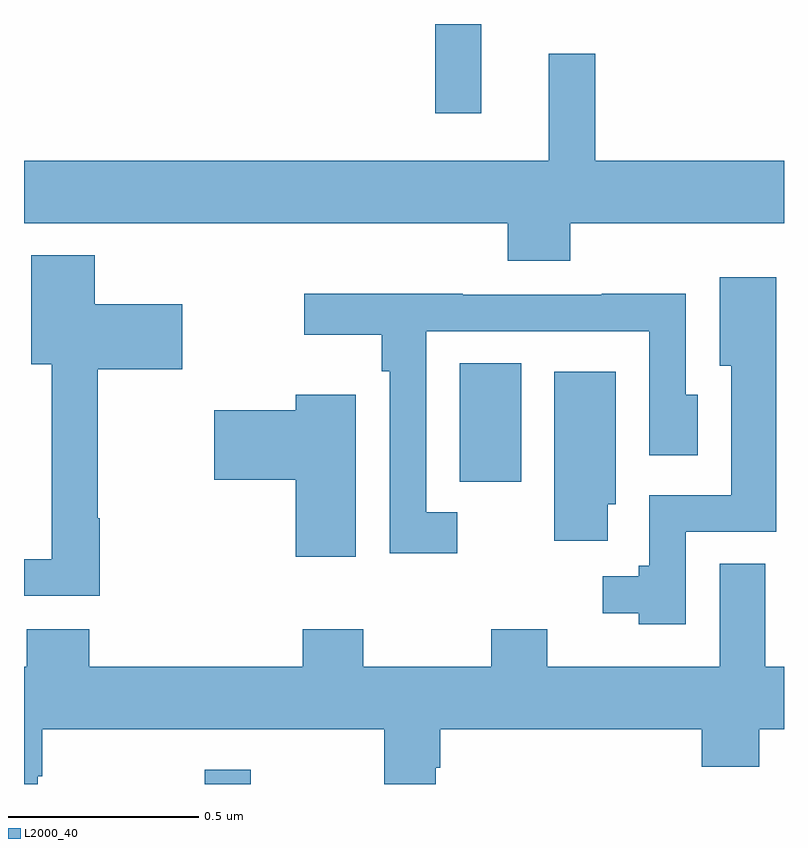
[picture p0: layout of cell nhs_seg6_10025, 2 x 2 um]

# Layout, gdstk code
import gdstk
lib = gdstk.Library(unit=1e-6, precision=1e-09)
def R(c, l, rs):  # rectangles x0, y0, x1, y1
    for r in rs: c.add(gdstk.rectangle(r[:2], r[2:], *l))
def P(c, l, *ps):  # polygons
    for p in ps: c.add(gdstk.Polygon(p, *l))
L2000_40 = (2000, 40)

nhs_seg6_10025 = lib.new_cell('nhs_seg6_10025')
R(nhs_seg6_10025, L2000_40, [(241.476,972.5,241.597,972.538), (242.147,973.296,242.308,973.607), (242.082,974.265,242.203,974.5)])
P(nhs_seg6_10025, L2000_40, [(242.438,973.976),(243,973.976),(243,974.14),(242.503,974.14),(242.503,974.422),(242.381,974.422),(242.381,974.14),(241,974.14),(241,973.976),(242.273,973.976),(242.273,973.877),(242.438,973.877)],
  [(241.199,973.199),(241.194,973.199),(241.194,973.592),(241.417,973.592),(241.417,973.762),(241.186,973.762),(241.186,973.891),(241.019,973.891),(241.019,973.604),(241.073,973.604),(241.073,973.092),(241,973.092),(241,972.995),(241.199,972.995)],
  [(242.742,973.164),(242.98,973.164),(242.98,973.834),(242.831,973.834),(242.831,973.601),(242.861,973.601),(242.861,973.26),(242.646,973.26),(242.646,973.074),(242.618,973.074),(242.618,973.047),(242.523,973.047),(242.523,972.95),(242.618,972.95),(242.618,972.92),(242.742,972.92)],
  [(242.14,973.215),(242.058,973.215),(242.058,973.692),(242.646,973.692),(242.646,973.365),(242.773,973.365),(242.773,973.524),(242.742,973.524),(242.742,973.79),(242.521,973.79),(242.521,973.788),(242.155,973.788),(242.155,973.79),(241.737,973.79),(241.737,973.682),(241.942,973.682),(241.942,973.586),(241.962,973.586),(241.962,973.107),(242.14,973.107)],
  [(242.536,973.236),(242.557,973.236),(242.557,973.585),(242.396,973.585),(242.396,973.14),(242.536,973.14)],
  [(241.873,973.525),(241.715,973.525),(241.715,973.484),(241.5,973.484),(241.5,973.301),(241.715,973.301),(241.715,973.098),(241.873,973.098)],
  [(241.036,972.521),(241.048,972.521),(241.048,972.644),(241.948,972.644),(241.948,972.5),(242.083,972.5),(242.083,972.543),(242.096,972.543),(242.096,972.644),(242.783,972.644),(242.783,972.545),(242.935,972.545),(242.935,972.644),(243,972.644),(243,972.808),(242.95,972.808),(242.95,973.079),(242.831,973.079),(242.831,972.808),(242.377,972.808),(242.377,972.907),(242.23,972.907),(242.23,972.808),(241.893,972.808),(241.893,972.907),(241.733,972.907),(241.733,972.808),(241.172,972.808),(241.172,972.907),(241.007,972.907),(241.007,972.808),(241,972.808),(241,972.5),(241.036,972.5)])

lib.write_gds('nhs_seg6_10025.gds')
